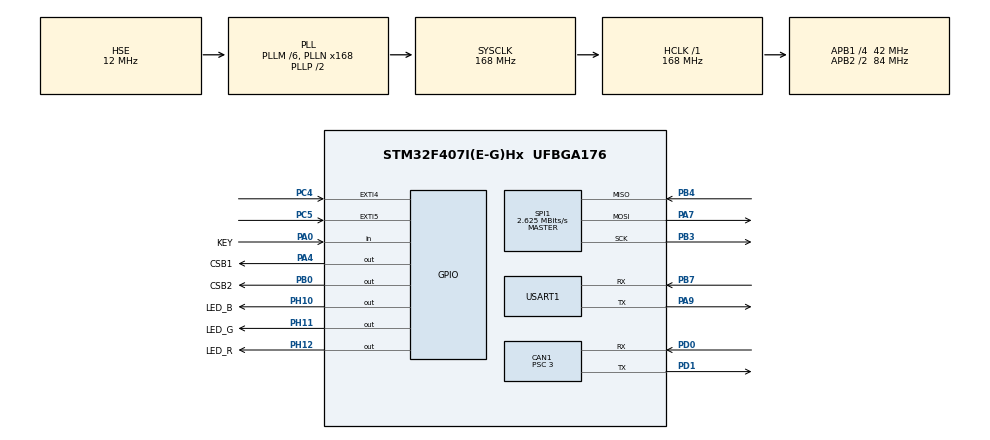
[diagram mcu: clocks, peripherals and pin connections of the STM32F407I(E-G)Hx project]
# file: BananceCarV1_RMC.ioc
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CAN1.ABOM=ENABLE
CAN1.BS1=CAN_BS1_9TQ
CAN1.BS2=CAN_BS2_4TQ
CAN1.CalculateBaudRate=1000000
CAN1.CalculateTimeBit=999.99
CAN1.CalculateTimeQuantum=71.42857142857143
CAN1.Prescaler=3
Mcu.Family=STM32F4
Mcu.Name=STM32F407I(E-G)Hx
Mcu.Package=UFBGA176
NVIC.CAN1_RX0_IRQn=true\:0\:0\:false\:false\:true\:true\:true
NVIC.CAN1_TX_IRQn=true\:0\:0\:false\:false\:true\:true\:true
NVIC.EXTI4_IRQn=true\:0\:0\:false\:false\:true\:true\:true
NVIC.EXTI9_5_IRQn=true\:0\:0\:false\:false\:true\:true\:true
NVIC.PriorityGroup=NVIC_PRIORITYGROUP_4
NVIC.USART1_IRQn=true\:5\:0\:true\:false\:true\:true\:true
PA0-WKUP.GPIO_Label=KEY
PA0-WKUP.Signal=GPIO_Input
PA13.Mode=Serial_Wire
PA13.Signal=SYS_JTMS-SWDIO
PA14.Mode=Serial_Wire
PA14.Signal=SYS_JTCK-SWCLK
PA4.GPIO_Label=CSB1
PA4.GPIO_Speed=GPIO_SPEED_FREQ_VERY_HIGH
PA4.Signal=GPIO_Output
PA7.Mode=Full_Duplex_Master
PA7.Signal=SPI1_MOSI
PA9.Mode=Asynchronous
PA9.Signal=USART1_TX
PB0.GPIO_Label=CSB2
PB0.GPIO_Speed=GPIO_SPEED_FREQ_VERY_HIGH
PB0.Signal=GPIO_Output
PB3.Mode=Full_Duplex_Master
PB3.Signal=SPI1_SCK
PB4.Mode=Full_Duplex_Master
PB4.Signal=SPI1_MISO
PB7.Mode=Asynchronous
PB7.Signal=USART1_RX
PC4.Signal=GPXTI4
PC5.Signal=GPXTI5
PD0.Mode=CAN_Activate
PD0.Signal=CAN1_RX
PD1.Mode=CAN_Activate
PD1.Signal=CAN1_TX
PH0-OSC_IN.Mode=HSE-External-Oscillator
PH0-OSC_IN.Signal=RCC_OSC_IN
PH1-OSC_OUT.Mode=HSE-External-Oscillator
PH1-OSC_OUT.Signal=RCC_OSC_OUT
PH10.GPIO_Label=LED_B
PH10.GPIO_Speed=GPIO_SPEED_FREQ_LOW
PH10.Signal=GPIO_Output
PH11.GPIO_Label=LED_G
PH11.GPIO_Speed=GPIO_SPEED_FREQ_LOW
PH11.Signal=GPIO_Output
PH12.GPIO_Label=LED_R
PH12.GPIO_Speed=GPIO_SPEED_FREQ_LOW
PH12.Signal=GPIO_Output
ProjectManager.HeapSize=0x200
ProjectManager.StackSize=0x400
ProjectManager.TargetToolchain=MDK-ARM V5.32
RCC.48MHZClocksFreq_Value=84000000
RCC.AHBFreq_Value=168000000
RCC.APB1CLKDivider=RCC_HCLK_DIV4
RCC.APB1Freq_Value=42000000
RCC.APB1TimFreq_Value=84000000
RCC.APB2CLKDivider=RCC_HCLK_DIV2
RCC.APB2Freq_Value=84000000
RCC.APB2TimFreq_Value=168000000
RCC.CortexFreq_Value=168000000
RCC.HCLKFreq_Value=168000000
RCC.HSE_VALUE=12000000
RCC.HSI_VALUE=16000000
RCC.LSE_VALUE=32768
RCC.PLLM=6
RCC.PLLN=168
RCC.PLLSourceVirtual=RCC_PLLSOURCE_HSE
RCC.SYSCLKFreq_VALUE=168000000
RCC.SYSCLKSource=RCC_SYSCLKSOURCE_PLLCLK
RCC.VCOOutputFreq_Value=336000000
SPI1.BaudRatePrescaler=SPI_BAUDRATEPRESCALER_32
SPI1.CalculateBaudRate=2.625 MBits/s
SPI1.Direction=SPI_DIRECTION_2LINES
SPI1.Mode=SPI_MODE_MASTER
SPI1.VirtualType=VM_MASTER
USART1.VirtualMode=VM_ASYNC
board=custom

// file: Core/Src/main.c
/* USER CODE BEGIN Header */
/**
  ******************************************************************************
  * @file           : main.c
  * @brief          : Main program body
  ******************************************************************************
  * @attention
  *
  * <h2><center>&copy; Copyright (c) 2022 STMicroelectronics.
  * All rights reserved.</center></h2>
  *
  * This software component is licensed by ST under BSD 3-Clause license,
  * the "License"; You may not use this file except in compliance with the
  * License. You may obtain a copy of the License at:
  *                        opensource.org/licenses/BSD-3-Clause
  *
  ******************************************************************************
  */
/* USER CODE END Header */
#include "main.h"
#include "can.h"
#include "spi.h"
#include "usart.h"
#include "gpio.h"

/* USER CODE BEGIN Includes */
#include <stdio.h>
#include "bsp_can.h"

#include "yqy1.1_bmi088.h"				//包含初始化陀螺仪代码

#include "BMI088driver.h"
#include "BMI088reg.h"
#include "BMI088Middleware.h"
/* USER CODE END Includes */

void SystemClock_Config(void);

/* USER CODE BEGIN 0 */

uint8_t bmi088InitStatus = 0;
char str_hello[12] = "Hello World\n";
/* USER CODE END 0 */

int main(void)
{
  /* USER CODE BEGIN 1 */
	//init_flag = 0;
  /* USER CODE END 1 */

  /* MCU Configuration--------------------------------------------------------*/

  /* Reset of all peripherals, Initializes the Flash interface and the Systick. */
  HAL_Init();

  /* Configure the system clock */
  SystemClock_Config();

  /* Initialize all configured peripherals */
  MX_GPIO_Init();
  MX_CAN1_Init();
  MX_USART1_UART_Init();
  MX_SPI1_Init();
  /* USER CODE BEGIN 2 */

	my_can_filter_init_recv_all(&hcan1);    					 							//配置CAN过滤器
	HAL_CAN_Start(&hcan1);																					//开启can模块
	//HAL_CAN_Receive_IT(&hcan1, CAN_FIFO0);   //启动CAN接收中断

	HAL_UART_Transmit(&huart1, (uint8_t*)str_hello, 12, 0xFFFF);		//测试串口是否正常工作
	printf("using printf successfully\n");

	//yqy_bmi088_init();																							//用于初始化不知道那个鬼才选的板载BMI088陀螺仪
	while(BMI088_init())
	{
		HAL_Delay(100);
		//printf("yqy_bmi088_init :%d\n", bmi088InitStatus);								//展示初始化结果
	}
	printf("OK\n");
	if(HAL_CAN_ActivateNotification(&hcan1,CAN_IT_RX_FIFO0_MSG_PENDING) != HAL_OK)//激活CAN_IT_RX_FIFO0_MSG_PENDING中断
	{
		return HAL_ERROR;
	}
  /* USER CODE END 2 */

  /* Infinite loop */
  /* USER CODE BEGIN WHILE */
  while (1)
  {
//		HAL_GPIO_TogglePin(LED_G_GPIO_Port,LED_G_Pin);
		HAL_Delay(500);
		YQY_set_moto_current(&hcan1,150,150,0,0);
    /* USER CODE END WHILE */

  }
}

void SystemClock_Config(void)
{
  RCC_OscInitTypeDef RCC_OscInitStruct = {0};
  RCC_ClkInitTypeDef RCC_ClkInitStruct = {0};

  /** Configure the main internal regulator output voltage
  */
  __HAL_RCC_PWR_CLK_ENABLE();
  __HAL_PWR_VOLTAGESCALING_CONFIG(PWR_REGULATOR_VOLTAGE_SCALE1);
  /** Initializes the RCC Oscillators according to the specified parameters
  * in the RCC_OscInitTypeDef structure.
  */
  RCC_OscInitStruct.OscillatorType = RCC_OSCILLATORTYPE_HSE;
  RCC_OscInitStruct.HSEState = RCC_HSE_ON;
  RCC_OscInitStruct.PLL.PLLState = RCC_PLL_ON;
  RCC_OscInitStruct.PLL.PLLSource = RCC_PLLSOURCE_HSE;
  RCC_OscInitStruct.PLL.PLLM = 6;
  RCC_OscInitStruct.PLL.PLLN = 168;
  RCC_OscInitStruct.PLL.PLLP = RCC_PLLP_DIV2;
  RCC_OscInitStruct.PLL.PLLQ = 4;
  if (HAL_RCC_OscConfig(&RCC_OscInitStruct) != HAL_OK)
  {
    Error_Handler();
  }
  /** Initializes the CPU, AHB and APB buses clocks
  */
  RCC_ClkInitStruct.ClockType = RCC_CLOCKTYPE_HCLK|RCC_CLOCKTYPE_SYSCLK
                              |RCC_CLOCKTYPE_PCLK1|RCC_CLOCKTYPE_PCLK2;
  RCC_ClkInitStruct.SYSCLKSource = RCC_SYSCLKSOURCE_PLLCLK;
  RCC_ClkInitStruct.AHBCLKDivider = RCC_SYSCLK_DIV1;
  RCC_ClkInitStruct.APB1CLKDivider = RCC_HCLK_DIV4;
  RCC_ClkInitStruct.APB2CLKDivider = RCC_HCLK_DIV2;

  if (HAL_RCC_ClockConfig(&RCC_ClkInitStruct, FLASH_LATENCY_5) != HAL_OK)
  {
    Error_Handler();
  }
}

/* USER CODE BEGIN 4 */

void HAL_GPIO_EXTI_Callback(uint16_t GPIO_Pin)
{
	if(GPIO_Pin == GPIO_PIN_4)							//陀螺仪数据回调函数
	{
		//yqy_bmi088_exti_call_back();
	}
	if(GPIO_Pin == GPIO_PIN_5)							//陀螺仪数据回调函数
	{
		yqy_bmi088_exti_call_back();
	}
}
/* USER CODE END 4 */

void Error_Handler(void)
{
  /* USER CODE BEGIN Error_Handler_Debug */
  /* User can add his own implementation to report the HAL error return state */
  __disable_irq();
  while (1)
  {
		HAL_GPIO_TogglePin(LED_R_GPIO_Port,LED_R_Pin);
		HAL_Delay(500);
  }
  /* USER CODE END Error_Handler_Debug */
}

/************************ (C) COPYRIGHT STMicroelectronics *****END OF FILE****/
